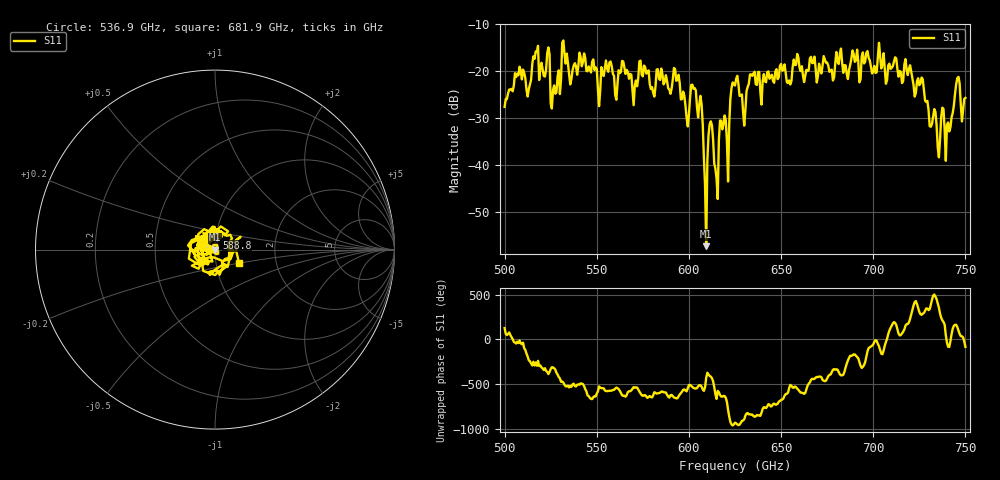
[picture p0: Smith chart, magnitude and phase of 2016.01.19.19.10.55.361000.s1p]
!Created with skrf (http://scikit-rf.org).
# GHz S RI R 50.0
!freq ReS11 ImS11
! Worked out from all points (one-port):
!   401 points, 500 GHz to 750 GHz, reference 50 ohm
!   lowest |S11| = -57.4 dB at 609.4 GHz (marker M1), VSWR 1.00, Z = 50 - j0.126 ohm
!   |S11| at or under -10 dB: start of sweep to end of sweep
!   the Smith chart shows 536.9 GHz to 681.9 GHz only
!   S11 on the Smith chart (normalised r, x): 536.9 GHz: 0.85, -0.11; 588.8 GHz: 1.01, +0.13; 681.9 GHz: 1.29, -0.19
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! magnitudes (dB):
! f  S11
! 500 GHz  -27.7
! 506.9 GHz  -20.6
! 513.1 GHz  -23.9
! 516.9 GHz  -15.8
! 523.1 GHz  -16.2
! 526.2 GHz  -24.1
! 531.2 GHz  -14.0
! 536.9 GHz  -19.8
! 562.5 GHz  -20.4
! 588.8 GHz  -23.7
! 593.8 GHz  -21.9
! 598.8 GHz  -30.0
! 602.5 GHz  -23.8
! 606.2 GHz  -25.3
! 609.4 GHz  -57.4
! 611.9 GHz  -30.7
! 615 GHz  -43.0
! 625 GHz  -23.1
! 629.4 GHz  -28.6
! 634.4 GHz  -21.0
! 656.2 GHz  -19.3
! 681.9 GHz  -16.3
! 687.5 GHz  -18.7
! 718.8 GHz  -20.9
! 735.6 GHz  -38.4
! 740.6 GHz  -31.0
! 745.6 GHz  -21.5
! 750 GHz  -25.7
